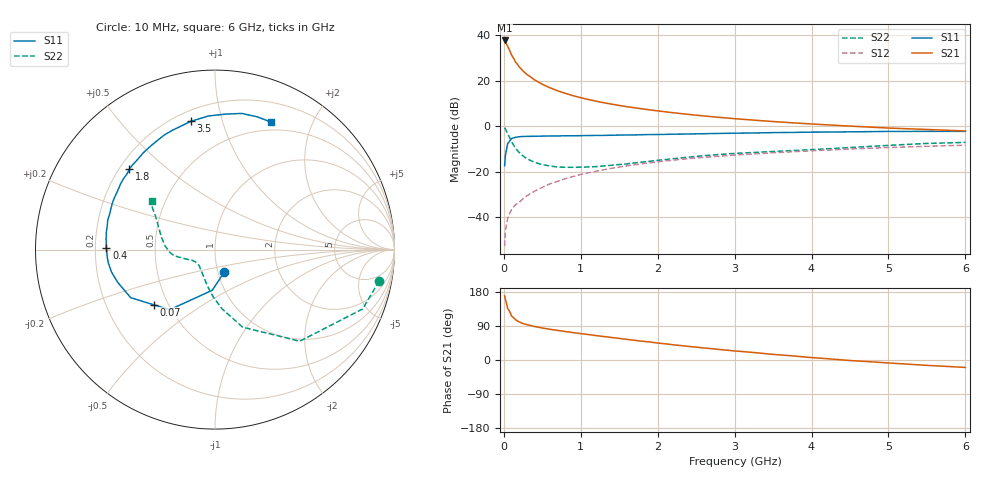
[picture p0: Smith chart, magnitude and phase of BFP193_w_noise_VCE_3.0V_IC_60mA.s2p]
! (c) 2017  Infineon Technologies AG, Munich
! Infineon Technologies  Discrete & RF Semiconductors
! BFP193
! VCE =  3.0 V,  IC =  60 mA
! Common Emitter S-Parameters:  Jan 2017
# GHz  S  MA  R  50
!  f  S11  S21  S12  S22
! GHz  MAG  ANG  MAG  ANG  MAG  ANG  MAG  ANG
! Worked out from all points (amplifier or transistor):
!   77 points, 10 MHz to 6 GHz, reference 50 ohm
!   highest |S21| = 37.8 dB at 10 MHz (marker M1)
!   |S21| within 3 dB of that: start of sweep to 56.08 MHz
!   unconditionally stable (mu >= 1): 466.4 MHz to 2.36 GHz
!   at 130 MHz: K = 0.68, MSG = 32.6 dB, |S12| = -35.4 dB
!   at 2.2 GHz: K = 1.01, MAG = 9.9 dB, |S12| = -14.9 dB
!   at 6 GHz: K = 0.94, MSG = 3.1 dB, |S12| = -8.3 dB
!   lowest NFmin = 1.67 dB at 450 MHz
!   S11 on the Smith chart (normalised r, x): 10 MHz: 1.07, -0.27; 70 MHz: 0.42, -0.33; 400 MHz: 0.25, +0.01; 1.8 GHz: 0.24, +0.38; 3.5 GHz: 0.26, +0.80; 6 GHz: 0.40, +1.45
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0.01  0.1356 -67.6  77.75 169.2  0.0023 85.6  0.9314 -10.8
0.02  0.2268 -93.8  74.94 159.3  0.0046 78.2  0.8865 -21.9
0.05  0.4193 -127.0  57.81 135.9  0.0095 62.7  0.6949 -47.3
0.07  0.4584 -137.8  49 129.9  0.0115 62.5  0.5897 -54.3
0.1  0.5409 -150.3  37.35 116.0  0.0145 62.3  0.4578 -70.5
0.15  0.5726 -161.6  26.52 106.4  0.0186 61.1  0.3324 -83.2
0.2  0.5902 -167.8  20.39 100.5  0.0213 64.3  0.2647 -92.0
0.25  0.5986 -172.7  16.51 96.1  0.0254 65.1  0.223 -98.5
0.3  0.6017 -175.8  13.84 93.2  0.0295 67.7  0.1935 -104.5
0.4  0.6053 178.9  10.51 88.2  0.0374 69.5  0.1608 -113.6
0.5  0.6095 174.5  8.427 84.4  0.0454 69.7  0.1438 -121.2
0.6  0.6134 170.9  7.06 81.0  0.0542 69.5  0.1339 -127.8
0.7  0.6145 167.7  6.06 78.1  0.0615 69.8  0.1271 -132.5
0.9  0.6193 161.4  4.722 72.3  0.0787 68.5  0.1254 -140.4
1.1  0.6277 155.6  3.892 67.1  0.0949 66.8  0.1277 -146.6
1.8  0.6547 136.7  2.428 49.5  0.1503 58.4  0.1633 -160.9
2.1  0.6653 129.0  2.088 42.6  0.1726 54.3  0.1857 -165.2
3.1  0.7089 107.8  1.432 22.3  0.2382 41.0  0.2585 -178.5
3.5  0.7275 100.6  1.275 14.8  0.2619 36.4  0.2794 175.6
4.1  0.7467 91.3  1.102 5.0  0.2949 29.0  0.3133 164.8
5.1  0.7729 77.6  0.903 -9.1  0.3456 17.3  0.3882 149.6
6  0.7758 66.5  0.79 -19.7  0.3849 7.2  0.4429 142.4
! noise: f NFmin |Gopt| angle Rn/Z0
0.45  1.67  0.48  -170  0.1
0.9  1.73  0.49  -163  0.1
1.9  2.41  0.62  -131  0.27
2.4  2.75  0.65  -118  0.56
